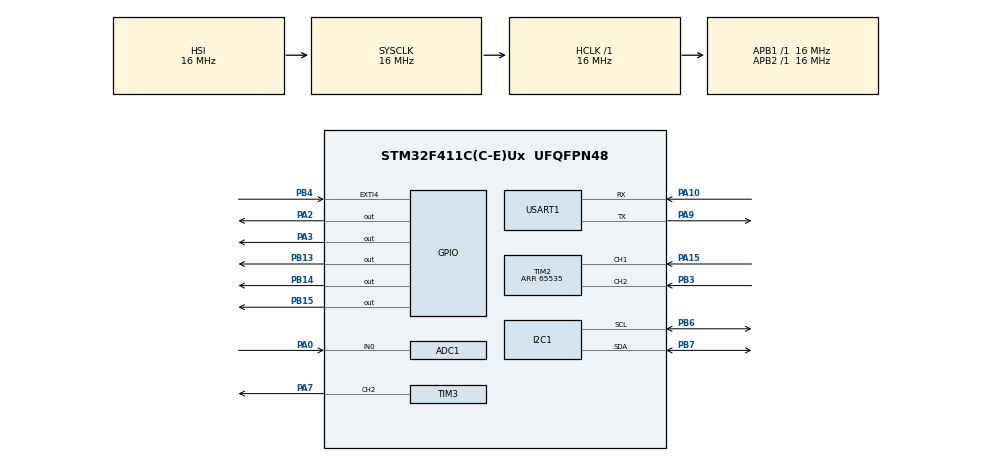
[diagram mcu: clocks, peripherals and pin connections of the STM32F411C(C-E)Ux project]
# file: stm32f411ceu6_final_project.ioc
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ADC1.Channel-0\#ChannelRegularConversion=ADC_CHANNEL_0
ADC1.NbrOfConversionFlag=1
ADC1.Rank-0\#ChannelRegularConversion=1
ADC1.SamplingTime-0\#ChannelRegularConversion=ADC_SAMPLETIME_3CYCLES
ADC1.master=1
Mcu.Family=STM32F4
Mcu.Name=STM32F411C(C-E)Ux
Mcu.Package=UFQFPN48
NVIC.EXTI4_IRQn=true\:0\:0\:false\:false\:true\:true\:true\:true
NVIC.I2C1_ER_IRQn=true\:0\:0\:false\:false\:true\:true\:true\:true
NVIC.I2C1_EV_IRQn=true\:0\:0\:false\:false\:true\:true\:true\:true
NVIC.PriorityGroup=NVIC_PRIORITYGROUP_4
NVIC.TIM4_IRQn=true\:0\:0\:false\:false\:true\:true\:true\:true
PA0-WKUP.Signal=ADCx_IN0
PA10.Mode=Asynchronous
PA10.Signal=USART1_RX
PA15.GPIO_ModeDefaultPP=GPIO_MODE_AF_OD
PA15.GPIO_PuPd=GPIO_PULLUP
PA15.Signal=S_TIM2_CH1_ETR
PA2.Signal=GPIO_Output
PA3.Signal=GPIO_Output
PA7.GPIO_ModeDefaultPP=GPIO_MODE_AF_PP
PA7.GPIO_PuPd=GPIO_NOPULL
PA7.Signal=S_TIM3_CH2
PA9.Mode=Asynchronous
PA9.Signal=USART1_TX
PB13.Signal=GPIO_Output
PB14.Signal=GPIO_Output
PB15.Signal=GPIO_Output
PB3.GPIO_ModeDefaultPP=GPIO_MODE_AF_OD
PB3.GPIO_PuPd=GPIO_PULLUP
PB3.Signal=S_TIM2_CH2
PB4.GPIO_ModeDefaultEXTI=GPIO_MODE_IT_RISING
PB4.GPIO_PuPd=GPIO_PULLUP
PB4.Signal=GPXTI4
PB6.Mode=I2C
PB6.Signal=I2C1_SCL
PB7.Mode=I2C
PB7.Signal=I2C1_SDA
ProjectManager.HeapSize=0x200
ProjectManager.StackSize=0x400
ProjectManager.TargetToolchain=STM32CubeIDE
RCC.AHBFreq_Value=16000000
RCC.APB1Freq_Value=16000000
RCC.APB2Freq_Value=16000000
RCC.CortexFreq_Value=16000000
RCC.HSE_VALUE=25000000
RCC.HSI_VALUE=16000000
RCC.LSE_VALUE=32768
RCC.SYSCLKFreq_VALUE=16000000
RCC.VCOOutputFreq_Value=192000000
SH.ADCx_IN0.0=ADC1_IN0,IN0
SH.S_TIM2_CH1_ETR.0=TIM2_CH1,Encoder_Interface
SH.S_TIM2_CH2.0=TIM2_CH2,Encoder_Interface
SH.S_TIM3_CH2.0=TIM3_CH2,PWM Generation2 CH2
TIM2.AutoReloadPreload=TIM_AUTORELOAD_PRELOAD_ENABLE
TIM2.EncoderMode=TIM_ENCODERMODE_TI12
TIM2.IC1Filter=15
TIM2.IC2Filter=15
TIM2.Period=65535
TIM3.AutoReloadPreload=TIM_AUTORELOAD_PRELOAD_ENABLE
TIM3.Channel-PWM\ Generation2\ CH2=TIM_CHANNEL_2
TIM3.Period=999
TIM3.Prescaler=79
TIM4.AutoReloadPreload=TIM_AUTORELOAD_PRELOAD_ENABLE
TIM4.Period=1999
TIM4.Prescaler=15
USART1.VirtualMode=VM_ASYNC
VP_TIM3_VS_ClockSourceINT.Mode=Internal
VP_TIM4_VS_ClockSourceINT.Mode=Internal
board=custom

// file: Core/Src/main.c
/* USER CODE BEGIN Header */
/**
  ******************************************************************************
  * @file           : main.c
  * @brief          : Main program body
  ******************************************************************************
  * @attention
  *
  * Copyright (c) 2026 STMicroelectronics.
  * All rights reserved.
  *
  * This software is licensed under terms that can be found in the LICENSE file
  * in the root directory of this software component.
  * If no LICENSE file comes with this software, it is provided AS-IS.
  *
  ******************************************************************************
  */
/* USER CODE END Header */
#include "main.h"

/* USER CODE BEGIN Includes */
#include "oled.h"
#include "sht30.h"
#include "ntc.h"
#include "encoder.h"
#include "control.h"
#include "display.h"
#include "fsm.h"
#include "uart.h"
/* USER CODE END Includes */

/* USER CODE BEGIN PD */
#define STATUS_PORT 				GPIOB
#define ERROR_LED_PIN 				GPIO_PIN_13
#define PELTIER_LED_PIN 			GPIO_PIN_14
#define BUZZER_PIN 					GPIO_PIN_15

#define DRIVER_PORT					GPIOA
#define PELTIER_PIN 				GPIO_PIN_2
#define HOT_FAN_PIN 				GPIO_PIN_3

#define COLD_FAN_TIM_HANDLE			&htim3
#define COLD_FAN_CHANNEL 			TIM_CHANNEL_2

#define ENCODER_BUTTON_PIN			GPIO_PIN_4
#define ENCODER_MAIN_TIM_HANDLE		&htim2
#define ENCODER_TICK_TIM_HANDLE		&htim4

#define MAX_SENSOR_ERROR 			5
#define MAX_DISPLAY_ERROR 			10
/* USER CODE END PD */

ADC_HandleTypeDef hadc1;

I2C_HandleTypeDef hi2c1;

TIM_HandleTypeDef htim2;
TIM_HandleTypeDef htim3;
TIM_HandleTypeDef htim4;

UART_HandleTypeDef huart1;

/* USER CODE BEGIN PV */
oled_t oled = {0};
sht30_t sht30 = {0};
ntc_t ntc = {0};
encoder_t encoder = {0};
control_t control = {0};
volatile event_e event;
state_e current_state;
event_e local_event;
uint8_t sensor_error = 0;
uint8_t display_error = 0;
uint32_t oled_tick = 0;
uint32_t sensor_tick = 0;
uint32_t uart_tick = 0;
uint32_t error_tick, hot_fan_timeout;
sht30_status_e sht30_status;
ntc_status_e ntc_status;
oled_status_e oled_status;
volatile bool error_pending = false;
/* USER CODE END PV */

void SystemClock_Config(void);
static void MX_GPIO_Init(void);
static void MX_ADC1_Init(void);
static void MX_I2C1_Init(void);
static void MX_TIM2_Init(void);
static void MX_TIM3_Init(void);
static void MX_TIM4_Init(void);
static void MX_USART1_UART_Init(void);

/* USER CODE BEGIN 0 */
void HAL_GPIO_EXTI_Callback(uint16_t GPIO_Pin)
{
	if (GPIO_Pin == encoder.button_pin) // Encoder Button is pressed
	{
		if ((HAL_GetTick() - encoder.debounce_tick) >= 200)
		{
			encoder.is_pressed_button = 1;
			encoder.debounce_tick = HAL_GetTick();
		}
	}
}

void HAL_TIM_PeriodElapsedCallback(TIM_HandleTypeDef* htim)
{
	if (htim == &htim4)
	{
		encoder_read(&encoder);
		switch(encoder.status)
		{
		case ENCODER_SCROLL_UP:
			event = UP;
			break;
		case ENCODER_SCROLL_DOWN:
			event = DOWN;
			break;
		case ENCODER_PRESSED:
			event = PRESSED;
			break;
		case ENCODER_NONE:
			break;
		}
	}
}

void menu_setting(void)
{
	switch (current_state)
	{
	case SET_HUM_CHOOSE:
		if (local_event == UP) 	control.target_hum = (control.target_hum == 60) ? 60 : control.target_hum + 1;
		else if (local_event == DOWN) control.target_hum = (control.target_hum == 35) ? 35 : control.target_hum - 1;
		break;
	case SET_ALARM_BUZZER_CHOOSE:
		if (local_event == UP) control.is_buzzer = true;
		else if (local_event == DOWN) control.is_buzzer = false;
		break;
	case SET_ALARM_LIMIT_TEMP_CHOOSE:
		if (local_event == UP) control.temp_limit = (control.temp_limit == 100) ? 100 : control.temp_limit + 1;
		else if (local_event == DOWN) control.temp_limit = (control.temp_limit == 0) ? 0 : control.temp_limit - 1;
		break;
	case SET_ALARM_MARGIN_HUM_CHOOSE:
		if (local_event == UP) control.hum_margin = (control.hum_margin == 10) ? 10 : control.hum_margin + 1;
		else if (local_event == DOWN) control.hum_margin = (control.hum_margin == 0) ? 0 : control.hum_margin - 1;
		break;
	case SET_ALARM_DELAY_HUM_CHOOSE:
		if (local_event == UP) control.hum_delay_mins = (control.hum_delay_mins == 120) ? 120 : control.hum_delay_mins + 5;
		else if (local_event == DOWN) control.hum_delay_mins = (control.hum_delay_mins == 0) ? 0 : control.hum_delay_mins - 5;
		break;
	default: break;
	}
}

void error_raise(void)
{
	if (error_pending) return;

	error_pending = true;
	error_tick = HAL_GetTick();
	hot_fan_timeout = HAL_GetTick();

	// stop all the loads except Hot Fan, leave it to cool down Peltier
	HAL_GPIO_WritePin(DRIVER_PORT, PELTIER_PIN, 0);
	HAL_TIM_PWM_Stop(COLD_FAN_TIM_HANDLE, COLD_FAN_CHANNEL);
	HAL_GPIO_WritePin(STATUS_PORT, BUZZER_PIN, 0);
	HAL_GPIO_WritePin(STATUS_PORT, PELTIER_LED_PIN, 0);
	HAL_GPIO_WritePin(DRIVER_PORT, HOT_FAN_PIN, 1);
}

void error_task(void)
{
	if (!error_pending) return;

	if ((HAL_GetTick() - error_tick) >= 500)
	{
		HAL_GPIO_TogglePin(STATUS_PORT, ERROR_LED_PIN);
		error_tick = HAL_GetTick();
	}

	// After 1 minutes of error happening, turn off Hot Fan
	if ((HAL_GetTick() - hot_fan_timeout) >= 60000) HAL_GPIO_WritePin(DRIVER_PORT, HOT_FAN_PIN, 0);
}

void menu_task(void)
{
	__disable_irq();
	local_event = event;
	event = NONE;
	__enable_irq();

	state_e state_before_event = fsm_get();

	if ((state_before_event == RUNNING) && (local_event == PRESSED) && (control.is_alarm_hum || control.is_alarm_temp))
	{
		control_alarm_ack(&control);
		local_event = NONE; // overwrite if has ALARM
	}

	if (error_pending) local_event = ERROR_HAPPEN; // overwrite if has ERROR

	fsm_run(local_event);
	current_state = fsm_get();
	menu_setting();
}

// Because OLED using i2c interrupt so need this function to call error_raise() task
void HAL_I2C_ErrorCallback(I2C_HandleTypeDef *hi2c)
{
	if (oled.i2c == hi2c)
	{
		display_error++;
		if (display_error >= MAX_DISPLAY_ERROR) error_raise();
	}
}

/* USER CODE END 0 */

int main(void)
{

  /* MCU Configuration--------------------------------------------------------*/

  /* Reset of all peripherals, Initializes the Flash interface and the Systick. */
  HAL_Init();

  /* Configure the system clock */
  SystemClock_Config();

  /* Initialize all configured peripherals */
  MX_GPIO_Init();
  MX_ADC1_Init();
  MX_I2C1_Init();
  MX_TIM2_Init();
  MX_TIM3_Init();
  MX_TIM4_Init();
  MX_USART1_UART_Init();
  /* USER CODE BEGIN 2 */

  // OLED
  oled_status = oled_init(&oled, &hi2c1, OLED_ADDR);
  if (oled_status != OLED_OK) error_raise();
  //

  // SHT30
  sht30_status = sht30_init(&sht30, &hi2c1, SHT30_ADDR, sht30_high_repeatability_mode);
  if (sht30_status != SHT30_OK) error_raise();
  //

  // NTC
  ntc_init(&ntc, &hadc1);
  //

  // ENCODER EC11
  encoder_init(&encoder, ENCODER_MAIN_TIM_HANDLE, ENCODER_BUTTON_PIN);
  HAL_TIM_Base_Start_IT(ENCODER_TICK_TIM_HANDLE);
  //

  // POWER DRIVER
  control_init(&control, COLD_FAN_TIM_HANDLE, COLD_FAN_CHANNEL,
		  DRIVER_PORT, PELTIER_PIN, DRIVER_PORT, HOT_FAN_PIN,
		  STATUS_PORT, PELTIER_LED_PIN, STATUS_PORT, BUZZER_PIN);
  //

  // FSM INIT
  fsm_init();
  //

  oled_clear_display(&oled);
  oled_status = oled_send_buffer(&oled);
  if (oled_status != OLED_OK) display_error++;
  /* USER CODE END 2 */

  /* Infinite loop */
  /* USER CODE BEGIN WHILE */
  while (1)
  {
	  menu_task(); // Update current state

	  error_task(); // Handle error

	  if (!error_pending)
	  {
		  control_buzzer_update(&control); // Update buzzer state

		  // Reading sensor values -> Checking alarm and Updating control state
		  if (((HAL_GetTick() - sensor_tick) >= 500) && (HAL_I2C_GetState(sht30.i2c)) == HAL_I2C_STATE_READY)
		  {
			  sht30_status = sht30_get(&sht30);
			  ntc_status = ntc_read_adc(&ntc);

			  if ((sht30_status == SHT30_OK) && (ntc_status == NTC_OK))
			  {
				  sht30_calculate(&sht30);
				  ntc_calculate_temp(&ntc);

				  control_alarm_hum_check(&control, &sht30);
				  control_alarm_temp_check(&control, &sht30);
				  control_update(&control, &ntc, &sht30);

				  sensor_error = 0; // reset sensor error when sht30 and ntc read OK
			  }
			  else
			  {
				  sensor_error++;
				  if (sensor_error >= MAX_SENSOR_ERROR) error_raise();
			  }

			  sensor_tick = HAL_GetTick();
		  }
	  }

	  // Displaying on OLED
	  if ((HAL_GetTick() - oled_tick) >= 250 && (HAL_I2C_GetState(oled.i2c)) == HAL_I2C_STATE_READY)
	  {
		  display_update(current_state, &oled, &sht30, &control);
		  oled_status = oled_send_buffer(&oled);

		  if (oled_status == OLED_OK)
		  {
			  display_error = 0; // reset display error when oled displays OK
		  }
		  else
		  {
			  display_error++;
			  if (display_error >= MAX_DISPLAY_ERROR) error_raise();
		  }

		  oled_tick = HAL_GetTick();
	  }

	  if ((HAL_GetTick() - uart_tick) >= 500)
	  {
		  uart_send_int(HAL_GetTick());
		  uart_send_char(',');
		  uart_send_int(sht30.hum*100);
		  uart_send_char(',');
		  uart_send_int(control.target_hum*100);
		  uart_send_char(',');
		  uart_send_int(control.debug_turn_on*100);
		  uart_send_char(',');
		  uart_send_int(control.debug_turn_off*100);
		  uart_send_char(',');
		  uart_send_int(control.debug_peltier);
		  uart_send_char(',');
		  uart_send_int(control.debug_cold_fan);
		  uart_send_char(',');
		  uart_send_int(ntc.temp*100);
		  uart_send_char(',');
		  uart_send_int(control.debug_dewpoint*100);
		  uart_send_char(',');
		  uart_send_int(control.state_elapsed_ms);
		  uart_send_char(',');
		  uart_send_int(control.debug_profile);
		  uart_send_char(',');
		  uart_send_int(control.debug_condensing_started);
		  uart_send_char(',');
		  uart_send_int(control.debug_fan_boost_allowed);
		  uart_send_char(',');
		  uart_send_int(sht30.temp*100);
		  uart_send_string("\r\n");
		  uart_tick = HAL_GetTick();
	  }
	  /* USER CODE END WHILE */

  }
}

void SystemClock_Config(void)
{
  RCC_OscInitTypeDef RCC_OscInitStruct = {0};
  RCC_ClkInitTypeDef RCC_ClkInitStruct = {0};

  /** Configure the main internal regulator output voltage
  */
  __HAL_RCC_PWR_CLK_ENABLE();
  __HAL_PWR_VOLTAGESCALING_CONFIG(PWR_REGULATOR_VOLTAGE_SCALE1);

  /** Initializes the RCC Oscillators according to the specified parameters
  * in the RCC_OscInitTypeDef structure.
  */
  RCC_OscInitStruct.OscillatorType = RCC_OSCILLATORTYPE_HSI;
  RCC_OscInitStruct.HSIState = RCC_HSI_ON;
  RCC_OscInitStruct.HSICalibrationValue = RCC_HSICALIBRATION_DEFAULT;
  RCC_OscInitStruct.PLL.PLLState = RCC_PLL_NONE;
  if (HAL_RCC_OscConfig(&RCC_OscInitStruct) != HAL_OK)
  {
    Error_Handler();
  }

  /** Initializes the CPU, AHB and APB buses clocks
  */
  RCC_ClkInitStruct.ClockType = RCC_CLOCKTYPE_HCLK|RCC_CLOCKTYPE_SYSCLK
                              |RCC_CLOCKTYPE_PCLK1|RCC_CLOCKTYPE_PCLK2;
  RCC_ClkInitStruct.SYSCLKSource = RCC_SYSCLKSOURCE_HSI;
  RCC_ClkInitStruct.AHBCLKDivider = RCC_SYSCLK_DIV1;
  RCC_ClkInitStruct.APB1CLKDivider = RCC_HCLK_DIV1;
  RCC_ClkInitStruct.APB2CLKDivider = RCC_HCLK_DIV1;

  if (HAL_RCC_ClockConfig(&RCC_ClkInitStruct, FLASH_LATENCY_0) != HAL_OK)
  {
    Error_Handler();
  }
}

static void MX_ADC1_Init(void)
{

  ADC_ChannelConfTypeDef sConfig = {0};

  /** Configure the global features of the ADC (Clock, Resolution, Data Alignment and number of conversion)
  */
  hadc1.Instance = ADC1;
  hadc1.Init.ClockPrescaler = ADC_CLOCK_SYNC_PCLK_DIV2;
  hadc1.Init.Resolution = ADC_RESOLUTION_12B;
  hadc1.Init.ScanConvMode = DISABLE;
  hadc1.Init.ContinuousConvMode = DISABLE;
  hadc1.Init.DiscontinuousConvMode = DISABLE;
  hadc1.Init.ExternalTrigConvEdge = ADC_EXTERNALTRIGCONVEDGE_NONE;
  hadc1.Init.ExternalTrigConv = ADC_SOFTWARE_START;
  hadc1.Init.DataAlign = ADC_DATAALIGN_RIGHT;
  hadc1.Init.NbrOfConversion = 1;
  hadc1.Init.DMAContinuousRequests = DISABLE;
  hadc1.Init.EOCSelection = ADC_EOC_SINGLE_CONV;
  if (HAL_ADC_Init(&hadc1) != HAL_OK)
  {
    Error_Handler();
  }

  /** Configure for the selected ADC regular channel its corresponding rank in the sequencer and its sample time.
  */
  sConfig.Channel = ADC_CHANNEL_0;
  sConfig.Rank = 1;
  sConfig.SamplingTime = ADC_SAMPLETIME_3CYCLES;
  if (HAL_ADC_ConfigChannel(&hadc1, &sConfig) != HAL_OK)
  {
    Error_Handler();
  }

}

static void MX_I2C1_Init(void)
{

  hi2c1.Instance = I2C1;
  hi2c1.Init.ClockSpeed = 100000;
  hi2c1.Init.DutyCycle = I2C_DUTYCYCLE_2;
  hi2c1.Init.OwnAddress1 = 0;
  hi2c1.Init.AddressingMode = I2C_ADDRESSINGMODE_7BIT;
  hi2c1.Init.DualAddressMode = I2C_DUALADDRESS_DISABLE;
  hi2c1.Init.OwnAddress2 = 0;
  hi2c1.Init.GeneralCallMode = I2C_GENERALCALL_DISABLE;
  hi2c1.Init.NoStretchMode = I2C_NOSTRETCH_DISABLE;
  if (HAL_I2C_Init(&hi2c1) != HAL_OK)
  {
    Error_Handler();
  }

}

static void MX_TIM2_Init(void)
{

  TIM_Encoder_InitTypeDef sConfig = {0};
  TIM_MasterConfigTypeDef sMasterConfig = {0};

  htim2.Instance = TIM2;
  htim2.Init.Prescaler = 0;
  htim2.Init.CounterMode = TIM_COUNTERMODE_UP;
  htim2.Init.Period = 65535;
  htim2.Init.ClockDivision = TIM_CLOCKDIVISION_DIV1;
  htim2.Init.AutoReloadPreload = TIM_AUTORELOAD_PRELOAD_ENABLE;
  sConfig.EncoderMode = TIM_ENCODERMODE_TI12;
  sConfig.IC1Polarity = TIM_ICPOLARITY_RISING;
  sConfig.IC1Selection = TIM_ICSELECTION_DIRECTTI;
  sConfig.IC1Prescaler = TIM_ICPSC_DIV1;
  sConfig.IC1Filter = 15;
  sConfig.IC2Polarity = TIM_ICPOLARITY_RISING;
  sConfig.IC2Selection = TIM_ICSELECTION_DIRECTTI;
  sConfig.IC2Prescaler = TIM_ICPSC_DIV1;
  sConfig.IC2Filter = 15;
  if (HAL_TIM_Encoder_Init(&htim2, &sConfig) != HAL_OK)
  {
    Error_Handler();
  }
  sMasterConfig.MasterOutputTrigger = TIM_TRGO_RESET;
  sMasterConfig.MasterSlaveMode = TIM_MASTERSLAVEMODE_DISABLE;
  if (HAL_TIMEx_MasterConfigSynchronization(&htim2, &sMasterConfig) != HAL_OK)
  {
    Error_Handler();
  }

}

static void MX_TIM3_Init(void)
{

  TIM_ClockConfigTypeDef sClockSourceConfig = {0};
  TIM_MasterConfigTypeDef sMasterConfig = {0};
  TIM_OC_InitTypeDef sConfigOC = {0};

  htim3.Instance = TIM3;
  htim3.Init.Prescaler = 79;
  htim3.Init.CounterMode = TIM_COUNTERMODE_UP;
  htim3.Init.Period = 999;
  htim3.Init.ClockDivision = TIM_CLOCKDIVISION_DIV1;
  htim3.Init.AutoReloadPreload = TIM_AUTORELOAD_PRELOAD_ENABLE;
  if (HAL_TIM_Base_Init(&htim3) != HAL_OK)
  {
    Error_Handler();
  }
  sClockSourceConfig.ClockSource = TIM_CLOCKSOURCE_INTERNAL;
  if (HAL_TIM_ConfigClockSource(&htim3, &sClockSourceConfig) != HAL_OK)
  {
    Error_Handler();
  }
  if (HAL_TIM_PWM_Init(&htim3) != HAL_OK)
  {
    Error_Handler();
  }
  sMasterConfig.MasterOutputTrigger = TIM_TRGO_RESET;
  sMasterConfig.MasterSlaveMode = TIM_MASTERSLAVEMODE_DISABLE;
  if (HAL_TIMEx_MasterConfigSynchronization(&htim3, &sMasterConfig) != HAL_OK)
  {
    Error_Handler();
  }
  sConfigOC.OCMode = TIM_OCMODE_PWM1;
  sConfigOC.Pulse = 0;
  sConfigOC.OCPolarity = TIM_OCPOLARITY_HIGH;
  sConfigOC.OCFastMode = TIM_OCFAST_DISABLE;
  if (HAL_TIM_PWM_ConfigChannel(&htim3, &sConfigOC, TIM_CHANNEL_2) != HAL_OK)
  {
    Error_Handler();
  }
  HAL_TIM_MspPostInit(&htim3);

}

static void MX_TIM4_Init(void)
{

  TIM_ClockConfigTypeDef sClockSourceConfig = {0};
  TIM_MasterConfigTypeDef sMasterConfig = {0};

  htim4.Instance = TIM4;
  htim4.Init.Prescaler = 15;
  htim4.Init.CounterMode = TIM_COUNTERMODE_UP;
  htim4.Init.Period = 1999;
  htim4.Init.ClockDivision = TIM_CLOCKDIVISION_DIV1;
  htim4.Init.AutoReloadPreload = TIM_AUTORELOAD_PRELOAD_ENABLE;
  if (HAL_TIM_Base_Init(&htim4) != HAL_OK)
  {
    Error_Handler();
  }
  sClockSourceConfig.ClockSource = TIM_CLOCKSOURCE_INTERNAL;
  if (HAL_TIM_ConfigClockSource(&htim4, &sClockSourceConfig) != HAL_OK)
  {
    Error_Handler();
  }
  sMasterConfig.MasterOutputTrigger = TIM_TRGO_RESET;
  sMasterConfig.MasterSlaveMode = TIM_MASTERSLAVEMODE_DISABLE;
  if (HAL_TIMEx_MasterConfigSynchronization(&htim4, &sMasterConfig) != HAL_OK)
  {
    Error_Handler();
  }

}

static void MX_USART1_UART_Init(void)
{

  huart1.Instance = USART1;
  huart1.Init.BaudRate = 115200;
  huart1.Init.WordLength = UART_WORDLENGTH_8B;
  huart1.Init.StopBits = UART_STOPBITS_1;
  huart1.Init.Parity = UART_PARITY_NONE;
  huart1.Init.Mode = UART_MODE_TX_RX;
  huart1.Init.HwFlowCtl = UART_HWCONTROL_NONE;
  huart1.Init.OverSampling = UART_OVERSAMPLING_16;
  if (HAL_UART_Init(&huart1) != HAL_OK)
  {
    Error_Handler();
  }

}

static void MX_GPIO_Init(void)
{
  GPIO_InitTypeDef GPIO_InitStruct = {0};

  /* GPIO Ports Clock Enable */
  __HAL_RCC_GPIOA_CLK_ENABLE();
  __HAL_RCC_GPIOB_CLK_ENABLE();

  /*Configure GPIO pin Output Level */
  HAL_GPIO_WritePin(GPIOA, GPIO_PIN_2|GPIO_PIN_3, GPIO_PIN_RESET);

  /*Configure GPIO pin Output Level */
  HAL_GPIO_WritePin(GPIOB, GPIO_PIN_13|GPIO_PIN_14|GPIO_PIN_15, GPIO_PIN_RESET);

  /*Configure GPIO pins : PA2 PA3 */
  GPIO_InitStruct.Pin = GPIO_PIN_2|GPIO_PIN_3;
  GPIO_InitStruct.Mode = GPIO_MODE_OUTPUT_PP;
  GPIO_InitStruct.Pull = GPIO_NOPULL;
  GPIO_InitStruct.Speed = GPIO_SPEED_FREQ_LOW;
  HAL_GPIO_Init(GPIOA, &GPIO_InitStruct);

  /*Configure GPIO pins : PB13 PB14 PB15 */
  GPIO_InitStruct.Pin = GPIO_PIN_13|GPIO_PIN_14|GPIO_PIN_15;
  GPIO_InitStruct.Mode = GPIO_MODE_OUTPUT_PP;
  GPIO_InitStruct.Pull = GPIO_NOPULL;
  GPIO_InitStruct.Speed = GPIO_SPEED_FREQ_LOW;
  HAL_GPIO_Init(GPIOB, &GPIO_InitStruct);

  /*Configure GPIO pin : PB4 */
  GPIO_InitStruct.Pin = GPIO_PIN_4;
  GPIO_InitStruct.Mode = GPIO_MODE_IT_RISING;
  GPIO_InitStruct.Pull = GPIO_PULLUP;
  HAL_GPIO_Init(GPIOB, &GPIO_InitStruct);

  /* EXTI interrupt init*/
  HAL_NVIC_SetPriority(EXTI4_IRQn, 0, 0);
  HAL_NVIC_EnableIRQ(EXTI4_IRQn);

}

void Error_Handler(void)
{
  __disable_irq();
  while (1)
  {
  }
}
